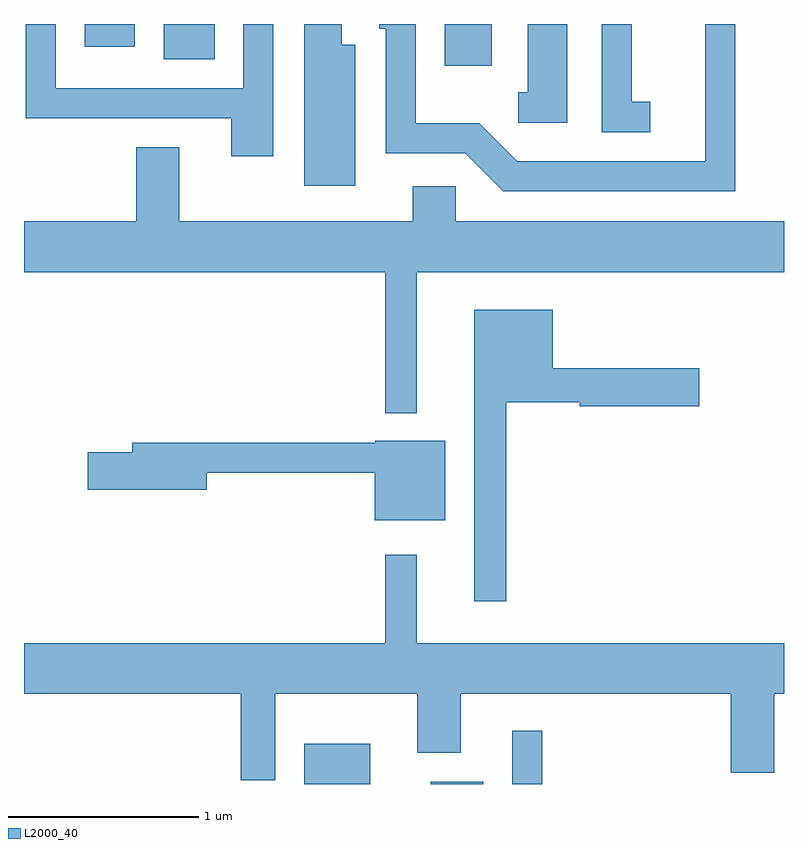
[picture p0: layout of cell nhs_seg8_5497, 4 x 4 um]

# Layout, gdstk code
import gdstk
lib = gdstk.Library(unit=1e-6, precision=1e-09)
def R(c, l, rs):  # rectangles x0, y0, x1, y1
    for r in rs: c.add(gdstk.rectangle(r[:2], r[2:], *l))
def P(c, l, *ps):  # polygons
    for p in ps: c.add(gdstk.Polygon(p, *l))
L2000_40 = (2000, 40)

nhs_seg8_5497 = lib.new_cell('nhs_seg8_5497')
R(nhs_seg8_5497, L2000_40, [(351.086,1880.342,351.434,1880.554), (351.751,1880.342,352.029,1880.354), (352.181,1880.342,352.339,1880.623), (351.826,1884.121,352.074,1884.342), (350.346,1884.156,350.614,1884.342), (349.931,1884.221,350.194,1884.342)])
P(nhs_seg8_5497, L2000_40, [(353.354,1884.342),(353.196,1884.342),(353.196,1883.619),(352.207,1883.619),(352.007,1883.819),(351.674,1883.819),(351.674,1884.342),(351.481,1884.342),(351.481,1884.316),(351.516,1884.316),(351.516,1883.661),(351.934,1883.661),(352.134,1883.461),(353.354,1883.461)],
  [(352.469,1884.342),(352.261,1884.342),(352.261,1883.984),(352.213,1883.984),(352.213,1883.821),(352.469,1883.821)],
  [(350.924,1884.342),(350.766,1884.342),(350.766,1884.004),(349.779,1884.004),(349.779,1884.342),(349.621,1884.342),(349.621,1883.846),(350.701,1883.846),(350.701,1883.646),(350.924,1883.646)],
  [(351.354,1884.234),(351.284,1884.234),(351.284,1884.342),(351.086,1884.342),(351.086,1883.491),(351.354,1883.491)],
  [(352.908,1883.934),(352.809,1883.934),(352.809,1884.342),(352.651,1884.342),(352.651,1883.771),(352.908,1883.771)],
  [(351.679,1883.036),(353.611,1883.036),(353.611,1883.304),(351.884,1883.304),(351.884,1883.489),(351.656,1883.489),(351.656,1883.304),(350.429,1883.304),(350.429,1883.694),(350.201,1883.694),(350.201,1883.304),(349.611,1883.304),(349.611,1883.036),(351.511,1883.036),(351.511,1882.293),(351.679,1882.293)],
  [(352.149,1882.351),(352.536,1882.351),(352.536,1882.331),(353.164,1882.331),(353.164,1882.529),(352.394,1882.529),(352.394,1882.839),(351.981,1882.839),(351.981,1881.303),(352.149,1881.303)],
  [(351.829,1882.149),(351.46,1882.149),(351.46,1882.139),(350.181,1882.139),(350.181,1882.089),(349.946,1882.089),(349.946,1881.891),(350.574,1881.891),(350.574,1881.981),(351.456,1881.981),(351.456,1881.731),(351.829,1881.731)],
  [(350.934,1880.816),(351.681,1880.816),(351.681,1880.506),(351.909,1880.506),(351.909,1880.816),(353.331,1880.816),(353.331,1880.401),(353.559,1880.401),(353.559,1880.816),(353.611,1880.816),(353.611,1881.084),(351.679,1881.084),(351.679,1881.548),(351.511,1881.548),(351.511,1881.084),(349.611,1881.084),(349.611,1880.816),(350.751,1880.816),(350.751,1880.361),(350.934,1880.361)])

lib.write_gds('nhs_seg8_5497.gds')
